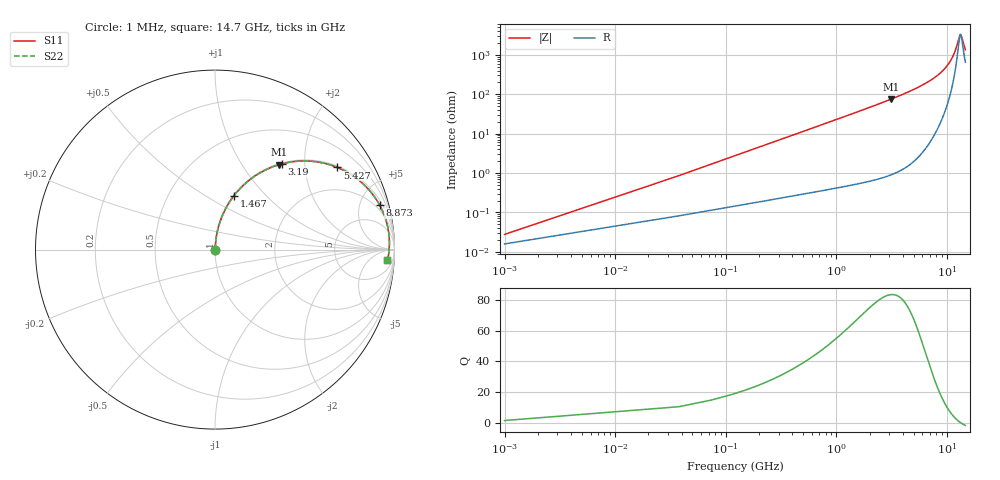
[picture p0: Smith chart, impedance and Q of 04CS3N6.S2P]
! Coilcraft 0402CS-3N6 Chip Inductor
! 29 May 2002
# MHZ S MA R 50
!Freq  MagS11  AngS11  MagS21  AngS21  MagS12  AngS12  MagS22  AngS22
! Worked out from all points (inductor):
!   402 points, 1 MHz to 14.7 GHz, reference 50 ohm
!   read as one part in series: L = 3.6 nH near 74.32 MHz
!   highest Q = 83.6 at 3.117 GHz (marker M1), where L = 3.81 nH
!   self-resonance near 13.31 GHz
!   S11 on the Smith chart (normalised r, x): 1 MHz: 1.00, +0.00; 1.467 GHz: 1.01, +0.67; 3.19 GHz: 1.02, +1.53; 5.427 GHz: 1.05, +2.95; 8.873 GHz: 1.42, +7.22; 14.7 GHz: 14, -23
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1  0.0002759 55.1  0.9998 -0.0  0.9998 -0.0  0.0002759 55.1
110.98  0.0251 85.4  0.9983 -1.4  0.9983 -1.4  0.0251 85.4
184.3  0.04162 85.2  0.9974 -2.4  0.9974 -2.4  0.04162 85.2
257.62  0.05811 84.6  0.9962 -3.3  0.9962 -3.3  0.05811 84.6
440.92  0.09912 82.8  0.9924 -5.7  0.9924 -5.7  0.09912 82.8
697.54  0.1558 79.8  0.9844 -9.0  0.9844 -9.0  0.1558 79.8
1027.48  0.2268 75.9  0.9699 -13.1  0.9699 -13.1  0.2268 75.9
1467.4  0.3171 70.6  0.9436 -18.5  0.9436 -18.5  0.3171 70.6
2457.22  0.4962 59.5  0.8621 -29.7  0.8621 -29.7  0.4962 59.5
3117.1  0.5947 52.8  0.7969 -36.5  0.7969 -36.5  0.5947 52.8
3190.42  0.6046 52.1  0.7893 -37.2  0.7893 -37.2  0.6046 52.1
4913.44  0.7844 37.5  0.609 -51.7  0.609 -51.7  0.7844 37.5
5426.68  0.8213 33.9  0.5572 -55.2  0.5572 -55.2  0.8213 33.9
7369.66  0.9136 22.3  0.3794 -65.9  0.3794 -65.9  0.9136 22.3
8872.72  0.9499 15.2  0.2626 -71.5  0.2626 -71.5  0.9499 15.2
9825.88  0.9628 11.3  0.1972 -73.5  0.1972 -73.5  0.9628 11.3
11218.96  0.9719 6.3  0.1126 -72.4  0.1126 -72.4  0.9719 6.3
12282.1  0.9729 3.0  0.05784 -60.6  0.05784 -60.6  0.9729 3.0
12978.64  0.9715 0.9  0.03268 -29.0  0.03268 -29.0  0.9715 0.9
13308.58  0.9704 0.0  0.0296 -0.4  0.0296 -0.4  0.9704 0.0
13565.2  0.9693 -0.7  0.03287 20.7  0.03287 20.7  0.9693 -0.7
14700  0.9628 -3.6  0.07209 57.2  0.07209 57.2  0.9628 -3.6
